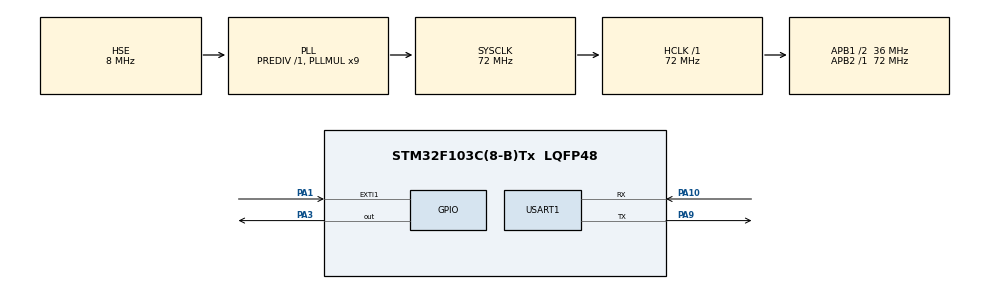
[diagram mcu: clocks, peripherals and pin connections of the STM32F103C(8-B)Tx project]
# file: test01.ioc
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Mcu.Family=STM32F1
Mcu.Name=STM32F103C(8-B)Tx
Mcu.Package=LQFP48
NVIC.EXTI1_IRQn=true\:0\:0\:false\:false\:true\:true\:true\:true
NVIC.PriorityGroup=NVIC_PRIORITYGROUP_4
NVIC.USART1_IRQn=true\:0\:0\:false\:false\:true\:true\:true\:true
PA1.GPIO_ModeDefaultEXTI=GPIO_MODE_IT_FALLING
PA1.GPIO_PuPd=GPIO_PULLUP
PA1.Signal=GPXTI1
PA10.Mode=Asynchronous
PA10.Signal=USART1_RX
PA13.Mode=Serial_Wire
PA13.Signal=SYS_JTMS-SWDIO
PA14.Mode=Serial_Wire
PA14.Signal=SYS_JTCK-SWCLK
PA3.PinState=GPIO_PIN_SET
PA3.Signal=GPIO_Output
PA9.Mode=Asynchronous
PA9.Signal=USART1_TX
PC14-OSC32_IN.Mode=LSE-External-Oscillator
PC14-OSC32_IN.Signal=RCC_OSC32_IN
PC15-OSC32_OUT.Mode=LSE-External-Oscillator
PC15-OSC32_OUT.Signal=RCC_OSC32_OUT
PD0-OSC_IN.Mode=HSE-External-Oscillator
PD0-OSC_IN.Signal=RCC_OSC_IN
PD1-OSC_OUT.Mode=HSE-External-Oscillator
PD1-OSC_OUT.Signal=RCC_OSC_OUT
ProjectManager.HeapSize=0x200
ProjectManager.StackSize=0x400
ProjectManager.TargetToolchain=MDK-ARM V5.32
RCC.AHBFreq_Value=72000000
RCC.APB1CLKDivider=RCC_HCLK_DIV2
RCC.APB1Freq_Value=36000000
RCC.APB1TimFreq_Value=72000000
RCC.APB2Freq_Value=72000000
RCC.APB2TimFreq_Value=72000000
RCC.HCLKFreq_Value=72000000
RCC.PLLMUL=RCC_PLL_MUL9
RCC.PLLSourceVirtual=RCC_PLLSOURCE_HSE
RCC.SYSCLKFreq_VALUE=72000000
RCC.SYSCLKSource=RCC_SYSCLKSOURCE_PLLCLK
RCC.USBFreq_Value=72000000
USART1.VirtualMode=VM_ASYNC
board=custom

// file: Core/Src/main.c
/* USER CODE BEGIN Header */
/**
  ******************************************************************************
  * @file           : main.c
  * @brief          : Main program body
  ******************************************************************************
  * @attention
  *
  * Copyright (c) 2026 STMicroelectronics.
  * All rights reserved.
  *
  * This software is licensed under terms that can be found in the LICENSE file
  * in the root directory of this software component.
  * If no LICENSE file comes with this software, it is provided AS-IS.
  *
  ******************************************************************************
  */
/* USER CODE END Header */
#include "main.h"
#include "usart.h"
#include "gpio.h"

/* USER CODE BEGIN Includes */
#include<stdio.h>
#include<string.h>
#define LED_PULSE_MS   300U
/* USER CODE END Includes */

/* USER CODE BEGIN PV */
volatile uint8_t led_pulse_flag = 0;
/* USER CODE END PV */

void SystemClock_Config(void);

int main(void)
{

  /* MCU Configuration--------------------------------------------------------*/

  /* Reset of all peripherals, Initializes the Flash interface and the Systick. */
  HAL_Init();

  /* Configure the system clock */
  SystemClock_Config();

  /* Initialize all configured peripherals */
  MX_GPIO_Init();
  MX_USART1_UART_Init();

  /* Infinite loop */
  /* USER CODE BEGIN WHILE */
  while (1)
  {
		if (led_pulse_flag)
    {
        led_pulse_flag = 0;
        HAL_GPIO_WritePin(GPIOA, GPIO_PIN_3, GPIO_PIN_RESET);  // 点亮
				printf("距离过近\r\n");
        HAL_Delay(LED_PULSE_MS);                               // 保持 300ms
        HAL_GPIO_WritePin(GPIOA, GPIO_PIN_3, GPIO_PIN_SET);    // 熄灭

    }
    /* USER CODE END WHILE */

  }
}

void SystemClock_Config(void)
{
  RCC_OscInitTypeDef RCC_OscInitStruct = {0};
  RCC_ClkInitTypeDef RCC_ClkInitStruct = {0};

  /** Initializes the RCC Oscillators according to the specified parameters
  * in the RCC_OscInitTypeDef structure.
  */
  RCC_OscInitStruct.OscillatorType = RCC_OSCILLATORTYPE_HSE;
  RCC_OscInitStruct.HSEState = RCC_HSE_ON;
  RCC_OscInitStruct.HSEPredivValue = RCC_HSE_PREDIV_DIV1;
  RCC_OscInitStruct.HSIState = RCC_HSI_ON;
  RCC_OscInitStruct.PLL.PLLState = RCC_PLL_ON;
  RCC_OscInitStruct.PLL.PLLSource = RCC_PLLSOURCE_HSE;
  RCC_OscInitStruct.PLL.PLLMUL = RCC_PLL_MUL9;
  if (HAL_RCC_OscConfig(&RCC_OscInitStruct) != HAL_OK)
  {
    Error_Handler();
  }

  /** Initializes the CPU, AHB and APB buses clocks
  */
  RCC_ClkInitStruct.ClockType = RCC_CLOCKTYPE_HCLK|RCC_CLOCKTYPE_SYSCLK
                              |RCC_CLOCKTYPE_PCLK1|RCC_CLOCKTYPE_PCLK2;
  RCC_ClkInitStruct.SYSCLKSource = RCC_SYSCLKSOURCE_PLLCLK;
  RCC_ClkInitStruct.AHBCLKDivider = RCC_SYSCLK_DIV1;
  RCC_ClkInitStruct.APB1CLKDivider = RCC_HCLK_DIV2;
  RCC_ClkInitStruct.APB2CLKDivider = RCC_HCLK_DIV1;

  if (HAL_RCC_ClockConfig(&RCC_ClkInitStruct, FLASH_LATENCY_2) != HAL_OK)
  {
    Error_Handler();
  }
}

/* USER CODE BEGIN 4 */
int fputc(int ch , FILE *f)
{
	HAL_UART_Transmit(&huart1,(uint8_t *)&ch,1,HAL_MAX_DELAY );
	return ch;

}
void HAL_GPIO_EXTI_Callback(uint16_t GPIO_Pin)
		{
			if ( GPIO_Pin == GPIO_PIN_1)
				{
					static uint32_t last_tick = 0;
					uint32_t now = HAL_GetTick();

					/* 50ms 内的重复下降沿视为抖动，直接忽略 */
					if (now - last_tick >= 50U)
					{
						last_tick = now;
						led_pulse_flag = 1;
					}
				}
	}

/* USER CODE END 4 */

void Error_Handler(void)
{
  __disable_irq();
  while (1)
  {
  }
}
